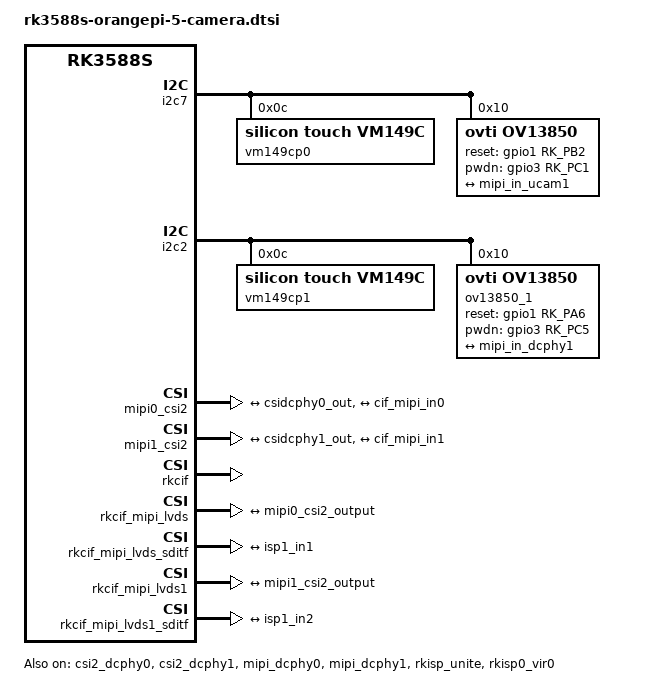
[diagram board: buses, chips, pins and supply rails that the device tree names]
// SPDX-License-Identifier: (GPL-2.0+ OR MIT)
/*
 * Copyright (c) 2021 Rockchip Electronics Co., Ltd.
 *
 */

&csi2_dcphy0 {
	status = "okay";

	ports {
		#address-cells = <1>;
		#size-cells = <0>;
		port@0 {
			reg = <0>;
			#address-cells = <1>;
			#size-cells = <0>;

			mipi_in_ucam1: endpoint@1 {
				reg = <1>;
				remote-endpoint = <&ov13850_out>;
				data-lanes = <1 2>;
			};
		};

		port@1 {
			reg = <1>;
			#address-cells = <1>;
			#size-cells = <0>;

			csidcphy0_out: endpoint@0 {
				reg = <0>;
				remote-endpoint = <&mipi0_csi2_input>;
			};
		};
	};
};

&csi2_dcphy1 {
	status = "okay";

	ports {
		#address-cells = <1>;
		#size-cells = <0>;

		port@0 {
			reg = <0>;
			#address-cells = <1>;
			#size-cells = <0>;

			mipi_in_dcphy1: endpoint@1 {
				reg = <1>;
				remote-endpoint = <&ov13850_out1>;
				data-lanes = <1 2>;
			};
		};

		port@1 {
			reg = <1>;
			#address-cells = <1>;
			#size-cells = <0>;

			csidcphy1_out: endpoint@0 {
				reg = <0>;
				remote-endpoint = <&mipi1_csi2_input>;
			};
		};
	};
};

/*
  MIPI D-PHY0
*/
&i2c7 {
	status = "okay";
        pinctrl-names = "default";
        pinctrl-0 = <&i2c7m0_xfer>;

	vm149cp0: vm149c@c {
		compatible = "silicon touch,vm149c";
		status = "okay";
		reg = <0x0c>;
		rockchip,camera-module-index = <0>;
		rockchip,camera-module-facing = "back";
	};

	ov13850: ov13850@10 {
		compatible = "ovti,ov13850";
		status = "okay";
		reg = <0x10>;
		clocks = <&cru CLK_MIPI_CAMARAOUT_M4>;
		clock-names = "xvclk";
                //power-domains = <&power RK3588_PD_VI>;
		//pinctrl-names = "default";
                //pinctrl-0 = <&mipim0_camera4_clk>;
		//rockchip,grf = <&sys_grf>;
		reset-gpios = <&gpio1 RK_PB2 GPIO_ACTIVE_HIGH>;
		pwdn-gpios = <&gpio3 RK_PC1 GPIO_ACTIVE_HIGH>;
		rockchip,camera-module-index = <0>;
		rockchip,camera-module-facing = "back";
		rockchip,camera-module-name = "CMK-CT0116";
		rockchip,camera-module-lens-name = "default";
		lens-focus = <&vm149cp0>;
		port {
			ov13850_out: endpoint {
				remote-endpoint = <&mipi_in_ucam1>;
				data-lanes = <1 2>;
			};
		};
	};
};

/*
  MIPI D-PHY1
*/

&i2c2 {
	status = "okay";

	vm149cp1: vm149c@c {
		compatible = "silicon touch,vm149c";
		status = "okay";
		reg = <0x0c>;
		rockchip,camera-module-index = <1>;
		rockchip,camera-module-facing = "front";
	};

	ov13850_1: ov13850@10 {
		compatible = "ovti,ov13850";
		status = "okay";
		reg = <0x10>;
		clocks = <&cru CLK_MIPI_CAMARAOUT_M4>;
		clock-names = "xvclk";
		//power-domains = <&power RK3588_PD_VI>;
		pinctrl-names = "default";
		pinctrl-0 = <&mipim0_camera4_clk>;
		rockchip,grf = <&sys_grf>;
		reset-gpios = <&gpio1 RK_PA6 GPIO_ACTIVE_HIGH>;
		pwdn-gpios = <&gpio3 RK_PC5 GPIO_ACTIVE_HIGH>;
		rockchip,camera-module-index = <1>;
		rockchip,camera-module-facing = "front";
		rockchip,camera-module-name = "CMK-CT0116";
		rockchip,camera-module-lens-name = "default";
		lens-focus = <&vm149cp1>;
		port {
			ov13850_out1: endpoint {
				remote-endpoint = <&mipi_in_dcphy1>;
				data-lanes = <1 2>;
			};
		};
	};
};

&mipi_dcphy0 {
	status = "okay";
};

&mipi_dcphy1 {
	status = "okay";
};

&mipi0_csi2 {
	status = "okay";

	ports {
		#address-cells = <1>;
		#size-cells = <0>;

		port@0 {
			reg = <0>;
			#address-cells = <1>;
			#size-cells = <0>;

			mipi0_csi2_input: endpoint@1 {
				reg = <1>;
				remote-endpoint = <&csidcphy0_out>;
			};
		};

		port@1 {
			reg = <1>;
			#address-cells = <1>;
			#size-cells = <0>;

			mipi0_csi2_output: endpoint@0 {
				reg = <0>;
				remote-endpoint = <&cif_mipi_in0>;
			};
		};
	};
};

&mipi1_csi2 {
	status = "okay";

	ports {
		#address-cells = <1>;
		#size-cells = <0>;

		port@0 {
			reg = <0>;
			#address-cells = <1>;
			#size-cells = <0>;

			mipi1_csi2_input: endpoint@1 {
				reg = <1>;
				remote-endpoint = <&csidcphy1_out>;
			};
		};

		port@1 {
			reg = <1>;
			#address-cells = <1>;
			#size-cells = <0>;

			mipi1_csi2_output: endpoint@0 {
				reg = <0>;
				remote-endpoint = <&cif_mipi_in1>;
			};
		};
	};
};

&rkcif {
	status = "okay";
};

&rkcif_mipi_lvds {
	status = "okay";

	port {
		cif_mipi_in0: endpoint {
			remote-endpoint = <&mipi0_csi2_output>;
		};
	};
};

&rkcif_mipi_lvds_sditf {
	status = "okay";

	port {
		mipi_lvds_sditf: endpoint {
			remote-endpoint = <&isp1_in1>;
		};
	};
};

&rkcif_mipi_lvds1 {
	status = "okay";

	port {
		cif_mipi_in1: endpoint {
			remote-endpoint = <&mipi1_csi2_output>;
		};
	};
};

&rkcif_mipi_lvds1_sditf {
	status = "okay";

	port {
		mipi1_lvds_sditf: endpoint {
			remote-endpoint = <&isp1_in2>;
		};
	};
};

&rkcif_mmu {
	status = "okay";
};

&rkisp_unite {
	status = "okay";

};

&rkisp_unite_mmu {
	status = "okay";
};

&rkisp0_vir0 {
	status = "okay";
	/*
	 * dual isp process image case
	 * other rkisp hw and virtual nodes should disabled
	 */
	rockchip,hw = <&rkisp_unite>;
	port {
		#address-cells = <1>;
		#size-cells = <0>;

		isp1_in1: endpoint@0 {
			reg = <0>;
			remote-endpoint = <&mipi_lvds_sditf>;
		};
		isp1_in2: endpoint@1 {
			reg = <1>;
			remote-endpoint = <&mipi1_lvds_sditf>;
		};
	};
};
